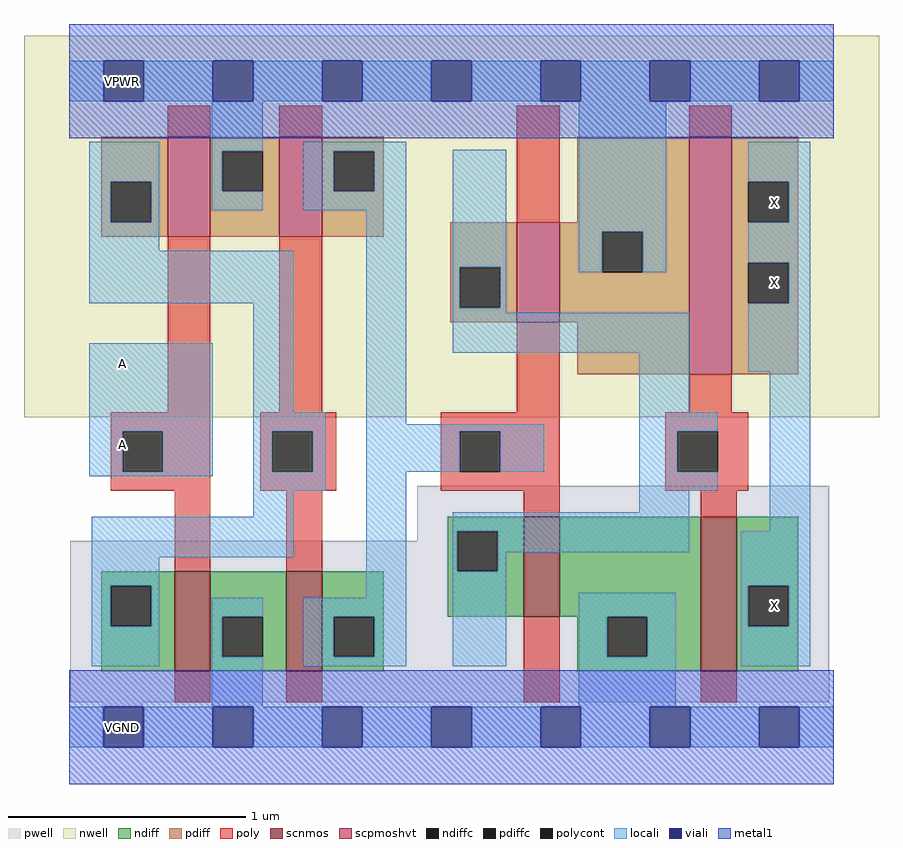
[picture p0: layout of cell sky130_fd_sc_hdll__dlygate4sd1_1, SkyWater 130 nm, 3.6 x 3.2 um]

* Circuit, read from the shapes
.subckt sky130_fd_sc_hdll__dlygate4sd1_1 A VGND VNB VPB VPWR X
XM1 VGND A n1 VNB sky130_fd_pr__nfet_01v8 w=0.42 l=0.15
XM2 n2 n1 VGND VNB sky130_fd_pr__nfet_01v8 w=0.42 l=0.15
XM3 VGND n2 n3 VNB sky130_fd_pr__nfet_01v8 w=0.42 l=0.15
XM4 X n3 VGND VNB sky130_fd_pr__nfet_01v8 w=0.65 l=0.15
XM5 VPWR A n1 VPB sky130_fd_pr__pfet_01v8_hvt w=0.42 l=0.18
XM6 n2 n1 VPWR VPB sky130_fd_pr__pfet_01v8_hvt w=0.42 l=0.18
XM7 VPWR n2 n3 VPB sky130_fd_pr__pfet_01v8_hvt w=0.42 l=0.18
XM8 X n3 VPWR VPB sky130_fd_pr__pfet_01v8_hvt w=1 l=0.18
.ends

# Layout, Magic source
magic
tech sky130A
magscale 1 2
<< nwell >>
rect -38 261 682 582
<< pwell >>
rect 293 157 640 203
rect 1 21 640 157
rect 28 -17 62 21
<< scnmos >>
rect 89 47 119 131
rect 183 47 213 131
rect 383 93 413 177
rect 532 47 562 177
<< scpmoshvt >>
rect 83 413 119 497
rect 177 413 213 497
rect 377 341 413 425
rect 522 297 558 497
<< ndiff >>
rect 319 165 383 177
rect 319 131 327 165
rect 361 131 383 165
rect 27 119 89 131
rect 27 85 35 119
rect 69 85 89 119
rect 27 47 89 85
rect 119 93 183 131
rect 119 59 129 93
rect 163 59 183 93
rect 119 47 183 59
rect 213 93 265 131
rect 319 93 383 131
rect 413 93 532 177
rect 213 59 223 93
rect 257 59 265 93
rect 213 47 265 59
rect 428 59 453 93
rect 487 59 532 93
rect 428 47 532 59
rect 562 119 614 177
rect 562 85 572 119
rect 606 85 614 119
rect 562 47 614 85
<< pdiff >>
rect 27 459 83 497
rect 27 425 35 459
rect 69 425 83 459
rect 27 413 83 425
rect 119 485 177 497
rect 119 451 129 485
rect 163 451 177 485
rect 119 413 177 451
rect 213 485 265 497
rect 213 451 223 485
rect 257 451 265 485
rect 213 413 265 451
rect 428 425 522 497
rect 321 387 377 425
rect 321 353 329 387
rect 363 353 377 387
rect 321 341 377 353
rect 413 417 522 425
rect 413 383 449 417
rect 483 383 522 417
rect 413 341 522 383
rect 428 297 522 341
rect 558 459 614 497
rect 558 425 572 459
rect 606 425 614 459
rect 558 391 614 425
rect 558 357 572 391
rect 606 357 614 391
rect 558 297 614 357
<< ndiffc >>
rect 327 131 361 165
rect 35 85 69 119
rect 129 59 163 93
rect 223 59 257 93
rect 453 59 487 93
rect 572 85 606 119
<< pdiffc >>
rect 35 425 69 459
rect 129 451 163 485
rect 223 451 257 485
rect 329 353 363 387
rect 449 383 483 417
rect 572 425 606 459
rect 572 357 606 391
<< poly >>
rect 83 497 119 523
rect 177 497 213 523
rect 377 425 413 523
rect 522 497 558 523
rect 83 265 119 413
rect 177 265 213 413
rect 377 265 413 341
rect 522 265 558 297
rect 35 249 119 265
rect 35 215 45 249
rect 79 215 119 249
rect 35 199 119 215
rect 161 249 225 265
rect 161 215 171 249
rect 205 215 225 249
rect 161 199 225 215
rect 313 249 413 265
rect 313 215 329 249
rect 363 215 413 249
rect 313 199 413 215
rect 502 249 572 265
rect 502 215 512 249
rect 546 215 572 249
rect 502 199 572 215
rect 89 131 119 199
rect 183 131 213 199
rect 383 177 413 199
rect 532 177 562 199
rect 89 21 119 47
rect 183 21 213 47
rect 383 21 413 93
rect 532 21 562 47
<< polycont >>
rect 45 215 79 249
rect 171 215 205 249
rect 329 215 363 249
rect 512 215 546 249
<< locali >>
rect 0 527 29 561
rect 63 527 121 561
rect 155 527 213 561
rect 247 527 305 561
rect 339 527 397 561
rect 431 527 489 561
rect 523 527 581 561
rect 615 527 644 561
rect 17 459 76 493
rect 17 425 35 459
rect 69 425 76 459
rect 120 485 163 527
rect 120 451 129 485
rect 120 435 163 451
rect 197 485 284 493
rect 197 451 223 485
rect 257 451 284 485
rect 197 435 284 451
rect 17 401 76 425
rect 17 357 189 401
rect 17 249 121 323
rect 17 215 45 249
rect 79 215 121 249
rect 17 211 121 215
rect 155 265 189 357
rect 155 249 216 265
rect 155 215 171 249
rect 205 215 216 249
rect 155 199 216 215
rect 250 255 284 435
rect 323 387 368 486
rect 323 353 329 387
rect 363 353 368 387
rect 429 417 503 527
rect 429 383 449 417
rect 483 383 503 417
rect 572 459 624 493
rect 606 425 624 459
rect 572 391 624 425
rect 323 349 368 353
rect 606 357 624 391
rect 323 315 522 349
rect 480 265 522 315
rect 572 299 624 357
rect 250 249 400 255
rect 250 215 329 249
rect 363 215 400 249
rect 480 249 546 265
rect 480 215 512 249
rect 155 177 189 199
rect 19 143 189 177
rect 19 119 76 143
rect 19 85 35 119
rect 69 85 76 119
rect 250 109 284 215
rect 480 199 546 215
rect 480 181 522 199
rect 19 51 76 85
rect 120 93 163 109
rect 120 59 129 93
rect 120 17 163 59
rect 197 93 284 109
rect 197 59 223 93
rect 257 59 284 93
rect 197 51 284 59
rect 323 165 522 181
rect 590 165 624 299
rect 323 131 327 165
rect 361 147 522 165
rect 361 131 368 147
rect 323 51 368 131
rect 566 119 624 165
rect 429 93 511 113
rect 429 59 453 93
rect 487 59 511 93
rect 429 17 511 59
rect 566 85 572 119
rect 606 85 624 119
rect 566 51 624 85
rect 0 -17 29 17
rect 63 -17 121 17
rect 155 -17 213 17
rect 247 -17 305 17
rect 339 -17 397 17
rect 431 -17 489 17
rect 523 -17 581 17
rect 615 -17 644 17
<< viali >>
rect 29 527 63 561
rect 121 527 155 561
rect 213 527 247 561
rect 305 527 339 561
rect 397 527 431 561
rect 489 527 523 561
rect 581 527 615 561
rect 29 -17 63 17
rect 121 -17 155 17
rect 213 -17 247 17
rect 305 -17 339 17
rect 397 -17 431 17
rect 489 -17 523 17
rect 581 -17 615 17
<< metal1 >>
rect 0 561 644 592
rect 0 527 29 561
rect 63 527 121 561
rect 155 527 213 561
rect 247 527 305 561
rect 339 527 397 561
rect 431 527 489 561
rect 523 527 581 561
rect 615 527 644 561
rect 0 496 644 527
rect 0 17 644 48
rect 0 -17 29 17
rect 63 -17 121 17
rect 155 -17 213 17
rect 247 -17 305 17
rect 339 -17 397 17
rect 431 -17 489 17
rect 523 -17 581 17
rect 615 -17 644 17
rect 0 -48 644 -17
<< labels >>
flabel locali s 28 289 62 323 0 FreeSans 200 0 0 0 A
port 1 nsew signal input
flabel locali s 577 425 611 459 0 FreeSans 200 0 0 0 X
port 6 nsew signal output
flabel locali s 577 357 611 391 0 FreeSans 200 0 0 0 X
port 6 nsew signal output
flabel locali s 577 85 611 119 0 FreeSans 200 0 0 0 X
port 6 nsew signal output
flabel locali s 28 221 62 255 0 FreeSans 200 0 0 0 A
port 1 nsew signal input
flabel metal1 s 28 527 62 561 0 FreeSans 200 0 0 0 VPWR
port 5 nsew power bidirectional
flabel metal1 s 28 -17 62 17 0 FreeSans 200 0 0 0 VGND
port 2 nsew ground bidirectional
flabel nwell s 28 527 62 561 0 FreeSans 200 0 0 0 VPB
port 4 nsew power bidirectional
flabel pwell s 28 -17 62 17 0 FreeSans 200 0 0 0 VNB
port 3 nsew ground bidirectional
rlabel comment s 0 0 0 0 4 dlygate4sd1_1
<< properties >>
string LEFsite unithd
string LEFclass CORE
string FIXED_BBOX 0 0 644 544
string GDS_FILE $PDKPATH/libs.ref/sky130_fd_sc_hdll/gds/sky130_fd_sc_hdll.gds
string LEFsymmetry X Y R90
string GDS_END 241004
string GDS_START 235602
string LEFproperties maskLayoutSubType "abstract" prCellType "standard" originalViewName "layout"
<< end >>
